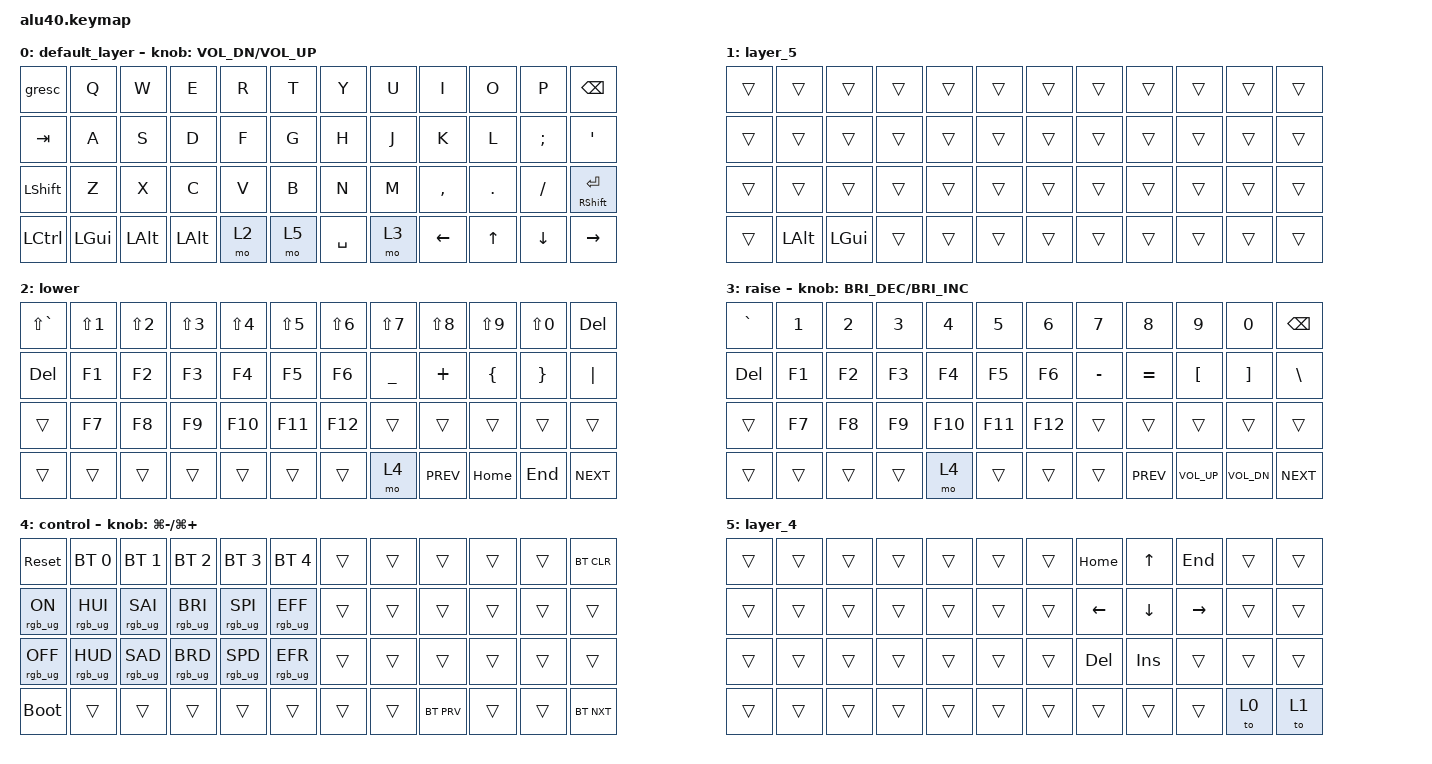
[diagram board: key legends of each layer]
/*
 * Copyright (c) 2022 The ZMK Contributors
 *
 * SPDX-License-Identifier: MIT
 */

#include <behaviors.dtsi>
#include <dt-bindings/zmk/bt.h>
#include <dt-bindings/zmk/keys.h>
#include <dt-bindings/zmk/rgb.h>

/ {
    keymap {
        compatible = "zmk,keymap";

        default_layer {
            // -----------------------------------------------------------------------------------------
            // | ESC/~ |  Q   |  W   |  E   |  R   |  T   |   Y   |  U    |  I   |  O   |   P   | BSPC  |
            // | TAB   |  A   |  S   |  D   |  F   |  G   |   H   |  J    |  K   |  L   |   ;   |  '    |
            // | SHIFT |  Z   |  X   |  C   |  V   |  B   |   N   |  M    |  ,   |  .   |   /   |RET/SFT|
            // | PLAY  | LCTL | LGUI | LALT | LOWR |     SPACE    |  RAIS | LARW | UARW | DARW  |  RARW |

            bindings = <
&gresc     &kp Q         &kp W         &kp E     &kp R  &kp T  &kp Y      &kp U  &kp I      &kp O    &kp P     &kp BSPC
&kp TAB    &kp A         &kp S         &kp D     &kp F  &kp G  &kp H      &kp J  &kp K      &kp L    &kp SEMI  &kp SQT
&kp LSHFT  &kp Z         &kp X         &kp C     &kp V  &kp B  &kp N      &kp M  &kp COMMA  &kp DOT  &kp FSLH  &mt RSHFT RET
&kp LCTRL  &kp LEFT_GUI  &kp LEFT_ALT  &kp LALT  &mo 2  &mo 5  &kp SPACE  &mo 3  &kp LEFT   &kp UP   &kp DOWN  &kp RIGHT
            >;

            sensor-bindings = <&inc_dec_kp C_VOL_DN C_VOL_UP>;
        };

        layer_5 {
            bindings = <
&trans  &trans    &trans        &trans  &trans  &trans  &trans  &trans  &trans  &trans  &trans  &trans
&trans  &trans    &trans        &trans  &trans  &trans  &trans  &trans  &trans  &trans  &trans  &trans
&trans  &trans    &trans        &trans  &trans  &trans  &trans  &trans  &trans  &trans  &trans  &trans
&trans  &kp LALT  &kp LEFT_GUI  &trans  &trans  &trans  &trans  &trans  &trans  &trans  &trans  &trans
            >;
        };

        lower {
            bindings = <
&kp LS(GRAVE)  &kp LS(N1)  &kp LS(N2)  &kp LS(N3)  &kp LS(N4)  &kp LS(N5)  &kp LS(N6)  &kp LS(N7)  &kp LS(N8)  &kp LS(N9)  &kp LS(N0)  &kp DEL
&kp DEL        &kp F1      &kp F2      &kp F3      &kp F4      &kp F5      &kp F6      &kp UNDER   &kp PLUS    &kp LBRC    &kp RBRC    &kp PIPE
&trans         &kp F7      &kp F8      &kp F9      &kp F10     &kp F11     &kp F12     &trans      &trans      &trans      &trans      &trans
&trans         &trans      &trans      &trans      &trans      &trans      &trans      &mo 4       &kp C_PREV  &kp HOME    &kp END     &kp C_NEXT
            >;
        };

        raise {
            bindings = <
&kp GRAVE  &kp N1  &kp N2  &kp N3  &kp N4   &kp N5   &kp N6   &kp N7     &kp N8      &kp N9        &kp N0        &kp BSPC
&kp DEL    &kp F1  &kp F2  &kp F3  &kp F4   &kp F5   &kp F6   &kp MINUS  &kp EQUAL   &kp LBKT      &kp RBKT      &kp BSLH
&trans     &kp F7  &kp F8  &kp F9  &kp F10  &kp F11  &kp F12  &trans     &trans      &trans        &trans        &trans
&trans     &trans  &trans  &trans  &mo 4    &trans   &trans   &trans     &kp C_PREV  &kp C_VOL_UP  &kp C_VOL_DN  &kp C_NEXT
            >;

            sensor-bindings = <&inc_dec_kp C_BRI_DEC C_BRI_INC>;
        };

        control {
            bindings = <
&sys_reset       &bt BT_SEL 0     &bt BT_SEL 1     &bt BT_SEL 2     &bt BT_SEL 3     &bt BT_SEL 4     &trans  &trans  &trans      &trans  &trans  &bt BT_CLR
&rgb_ug RGB_ON   &rgb_ug RGB_HUI  &rgb_ug RGB_SAI  &rgb_ug RGB_BRI  &rgb_ug RGB_SPI  &rgb_ug RGB_EFF  &trans  &trans  &trans      &trans  &trans  &trans
&rgb_ug RGB_OFF  &rgb_ug RGB_HUD  &rgb_ug RGB_SAD  &rgb_ug RGB_BRD  &rgb_ug RGB_SPD  &rgb_ug RGB_EFR  &trans  &trans  &trans      &trans  &trans  &trans
&bootloader      &trans           &trans           &trans           &trans           &trans           &trans  &trans  &bt BT_PRV  &trans  &trans  &bt BT_NXT
            >;

            sensor-bindings = <&inc_dec_kp LG(MINUS) LG(PLUS)>;
        };

        layer_4 {
            bindings = <
&trans  &trans  &trans  &trans  &trans  &trans  &trans  &kp HOME        &kp UP_ARROW  &kp END    &trans  &trans
&trans  &trans  &trans  &trans  &trans  &trans  &trans  &kp LEFT_ARROW  &kp DOWN      &kp RIGHT  &trans  &trans
&trans  &trans  &trans  &trans  &trans  &trans  &trans  &kp DELETE      &kp INS       &trans     &trans  &trans
&trans  &trans  &trans  &trans  &trans  &trans  &trans  &trans          &trans        &trans     &to 0   &to 1
            >;
        };
    };
};
